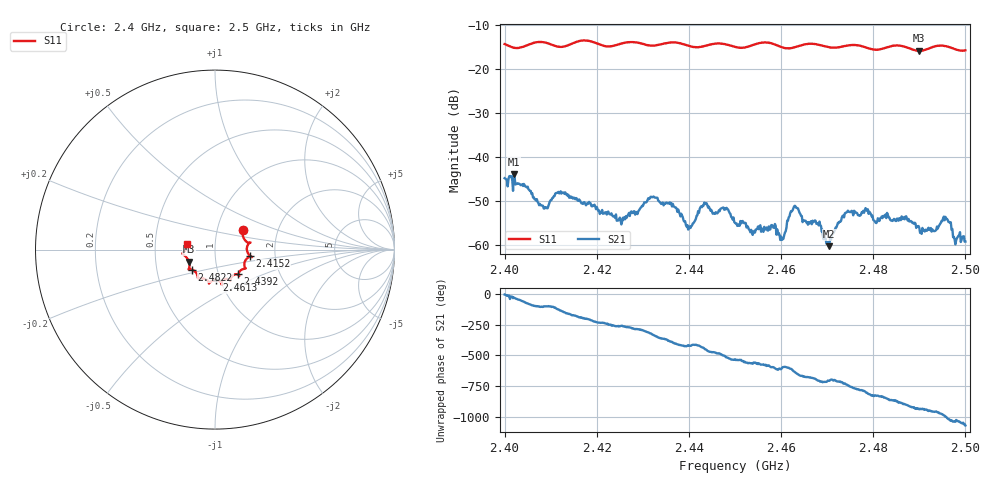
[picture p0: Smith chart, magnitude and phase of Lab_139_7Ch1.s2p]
# Hz S RI R 50
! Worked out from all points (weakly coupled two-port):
!   601 points, 2.4 GHz to 2.5 GHz, reference 50 ohm
!   highest |S21| = -43.90 dB at 2.402 GHz (marker M1); lowest = -60.3 dB at 2.4703 GHz (marker M2)
!   lowest |S11| = -15.9 dB at 2.4898 GHz (marker M3), VSWR 1.38, Z = 37 - j5.04 ohm
!   |S11| at or under -10 dB: start of sweep to end of sweep
!   S12 and S22 are empty: the file has one direction only
!   S11 on the Smith chart (normalised r, x): 2.4 GHz: 1.33, +0.31; 2.4152 GHz: 1.48, -0.11; 2.4392 GHz: 1.23, -0.35; 2.4613 GHz: 0.96, -0.34; 2.4822 GHz: 0.76, -0.17; 2.5 GHz: 0.73, +0.05
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2.4e9  0.1555 0.1107  0.0057 -0.000646  0 0  0 0
2.402e9  0.155 0.0776  0.0055 -0.00324  0 0  0 0
2.408833e9  0.1948 0.0391  -0.000556 -0.00264  0 0  0 0
2.411667e9  0.1778 0.0113  -0.00244 -0.00318  0 0  0 0
2.415167e9  0.195 -0.0361  -0.0034 -0.000168  0 0  0 0
2.416667e9  0.2047 -0.0421  -0.00291 0.000622  0 0  0 0
2.425e9  0.1654 -0.0961  -0.000266 0.00203  0 0  0 0
2.433333e9  0.1321 -0.1321  0.00318 0.000289  0 0  0 0
2.439167e9  0.1269 -0.138  0.000806 -0.00168  0 0  0 0
2.4435e9  0.0879 -0.1594  -3.49e-05 -0.00296  0 0  0 0
2.45e9  0.0686 -0.1638  -0.00176 -0.000258  0 0  0 0
2.460167e9  0.0225 -0.1743  -0.000483 0.00104  0 0  0 0
2.461333e9  0.00701 -0.1703  -0.000951 0.00164  0 0  0 0
2.463167e9  -0.0188 -0.176  0.00055 0.00267  0 0  0 0
2.466667e9  -0.0335 -0.1896  0.00137 0.00105  0 0  0 0
2.470333e9  -0.0456 -0.1698  0.000947 0.000215  0 0  0 0
2.474333e9  -0.0884 -0.1608  0.00226 -0.000758  0 0  0 0
2.482167e9  -0.128 -0.1118  -0.000991 -0.0019  0 0  0 0
2.483333e9  -0.1394 -0.1103  -0.00148 -0.00144  0 0  0 0
2.489833e9  -0.1457 -0.0663  -0.00136 0.000923  0 0  0 0
2.495667e9  -0.18 -0.0195  0.000313 0.00207  0 0  0 0
2.5e9  -0.1583 0.0339  0.00108 0.0002  0 0  0 0
